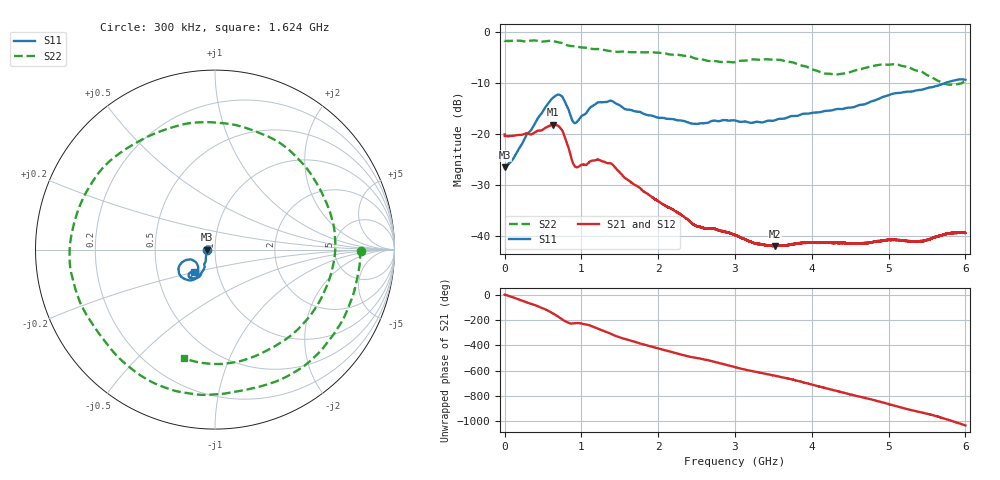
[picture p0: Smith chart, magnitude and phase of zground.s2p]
!  8/6/2020  03:19:14
! Ref Plane: 0.000 mm
# MHZ S MA R  50
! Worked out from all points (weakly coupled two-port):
!   10001 points, 300 kHz to 6 GHz, reference 50 ohm
!   highest |S21| = -18.19 dB at 630.3 MHz (marker M1); lowest = -41.9 dB at 3.515 GHz (marker M2)
!   lowest |S11| = -26.6 dB at 300 kHz (marker M3), VSWR 1.10, Z = 45.5 + j0.0165 ohm
!   |S11| at or under -10 dB: start of sweep to 5.748 GHz
!   |S22| runs from -10.4 to -1.7 dB; largest |S21 - S12| = 0.0027
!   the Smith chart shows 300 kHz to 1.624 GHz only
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0.3  0.04701 179.8  0.09898 -1.0  0.09624 -0.9  0.8147 -0.5
323.0839  0.1046 -125.0  0.09962 -69.9  0.0998 -69.9  0.8122 -95.0
630.2685  0.2256 -130.8  0.1231 -148.8  0.1232 -149.0  0.8078 177.2
810.2595  0.1882 -159.5  0.08212 142.7  0.08236 142.6  0.7364 124.1
1000.45  0.1488 -129.3  0.04991 131.2  0.04993 131.2  0.6979 72.8
1257.837  0.204 -129.1  0.05452 79.8  0.0546 79.8  0.6693 -1.0
1543.423  0.1793 -136.3  0.03867 13.0  0.03868 12.9  0.6375 -83.5
1790.011  0.1596 -129.3  0.02827 -31.1  0.02831 -31.2  0.6271 -151.9
2000.6  0.1439 -121.7  0.02201 -65.6  0.02205 -65.7  0.6203 151.9
2257.387  0.1355 -111.3  0.01693 -106.9  0.01698 -107.0  0.5932 84.2
2539.373  0.1262 -95.6  0.01232 -144.8  0.01238 -144.9  0.5417 6.3
2778.761  0.1331 -84.9  0.01148 -178.2  0.01149 -178.1  0.5096 -63.8
3000.15  0.1352 -77.7  0.01019 147.2  0.01031 147.6  0.5022 -129.5
3237.138  0.129 -67.6  0.008658 114.3  0.008657 113.6  0.5347 166.3
3514.924  0.1353 -52.3  0.007993 79.8  0.008107 79.7  0.5298 96.8
4000.3  0.16 -33.9  0.008656 9.6  0.008699 9.9  0.4287 -28.8
4232.488  0.1686 -25.2  0.008634 -26.5  0.008628 -27.0  0.3873 -101.6
4493.475  0.1807 -16.3  0.008456 -66.9  0.008525 -67.1  0.3998 176.4
4765.262  0.2062 -7.2  0.00864 -106.3  0.008671 -106.4  0.4545 103.2
5000.45  0.2385 -3.0  0.009236 -144.1  0.009168 -144.0  0.4742 46.8
5511.025  0.2818 1.6  0.009219 138.5  0.009256 138.1  0.3723 -77.0
6000  0.3378 -5.5  0.01075 47.0  0.0108 47.3  0.3287 122.8
